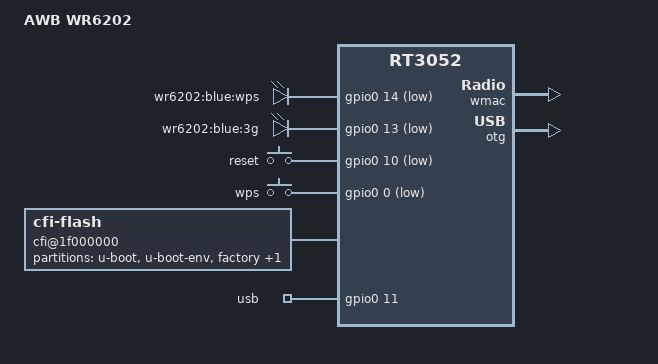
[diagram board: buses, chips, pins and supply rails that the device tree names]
/dts-v1/;

#include "rt3050.dtsi"

/ {
	compatible = "WR6202", "ralink,rt3052-soc";
	model = "AWB WR6202";

	chosen {
		bootargs = "console=ttyS0,115200";
	};

	gpio-leds {
		compatible = "gpio-leds";

		wps {
			label = "wr6202:blue:wps";
			gpios = <&gpio0 14 1>;
		};

		3g {
			label = "wr6202:blue:3g";
			gpios = <&gpio0 13 1>;
		};
	};

	gpio-keys-polled {
		compatible = "gpio-keys-polled";
		#address-cells = <1>;
		#size-cells = <0>;
		poll-interval = <20>;

		reset {
			label = "reset";
			gpios = <&gpio0 10 1>;
			linux,code = <0x198>;
		};

		wps {
			label = "wps";
			gpios = <&gpio0 0 1>;
			linux,code = <0x211>;
		};
	};

	cfi@1f000000 {
		compatible = "cfi-flash";
		reg = <0x1f000000 0x800000>;
		bank-width = <2>;
		device-width = <2>;
		#address-cells = <1>;
		#size-cells = <1>;

		partition@0 {
			label = "u-boot";
			reg = <0x0 0x30000>;
			read-only;
		};

		partition@30000 {
			label = "u-boot-env";
			reg = <0x30000 0x10000>;
			read-only;
		};

		factory: partition@40000 {
			label = "factory";
			reg = <0x40000 0x10000>;
			read-only;
		};

		partition@50000 {
			label = "firmware";
			reg = <0x50000 0x7b0000>;
		};
	};

	gpio_export {
		compatible = "gpio-export";
		#size-cells = <0>;

		usb {
			gpio-export,name = "usb";
			gpio-export,output = <0>;
			gpios = <&gpio0 11 0>;
		};
	};
};

&pinctrl {
	state_default: pinctrl0 {
		gpio {
			ralink,group = "spi", "i2c", "jtag", "rgmii", "mdio", "uartf";
			ralink,function = "gpio";
		};
	};
};

&ethernet {
	mtd-mac-address = <&factory 0x28>;
};

&esw {
	mediatek,portmap = <0x3e>;
};

&wmac {
	ralink,mtd-eeprom = <&factory 0>;
};

&otg {
	status = "okay";
};
